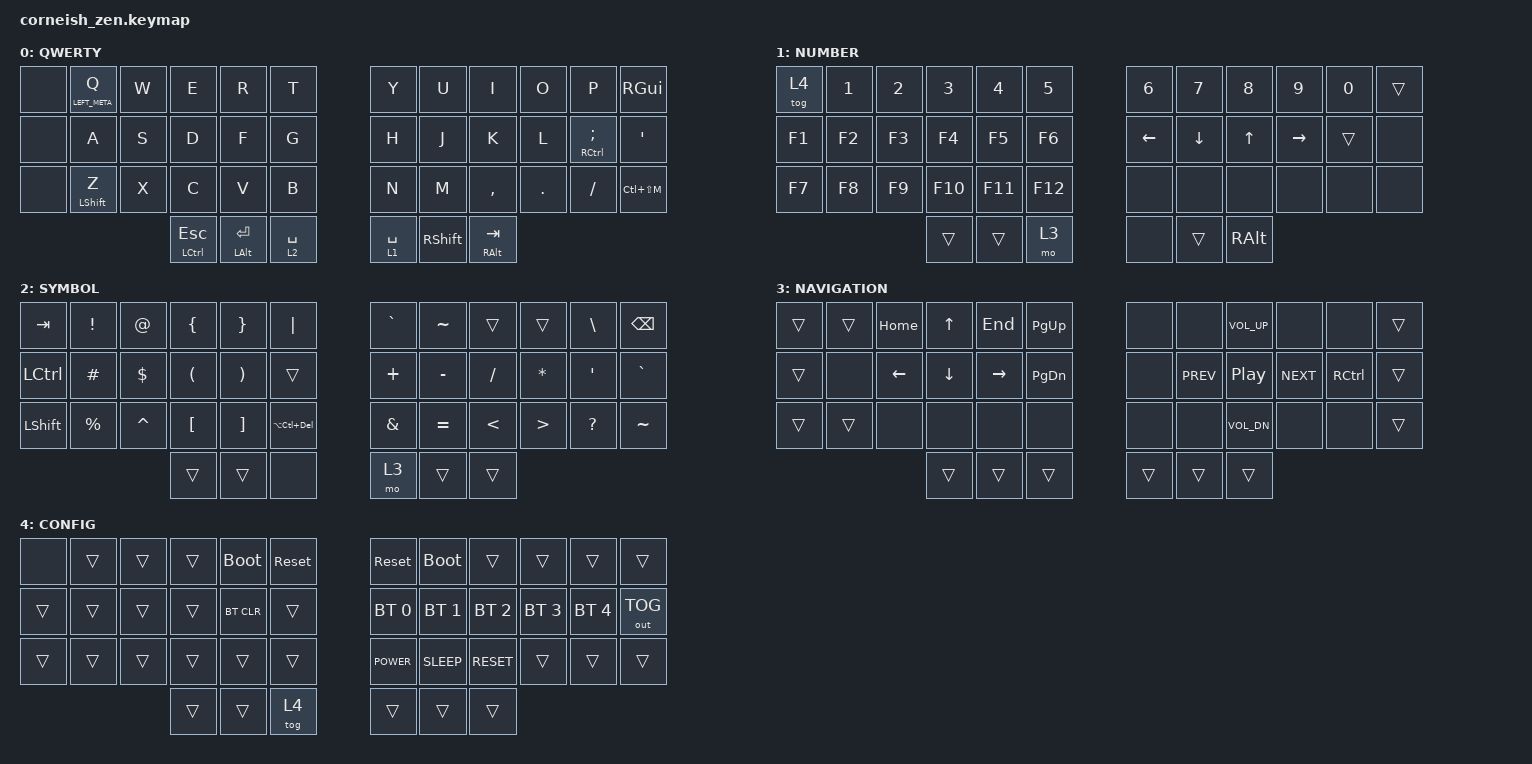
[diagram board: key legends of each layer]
#include <behaviors.dtsi>
#include <dt-bindings/zmk/bt.h>
#include <dt-bindings/zmk/keys.h>
#include <dt-bindings/zmk/outputs.h>

/ {
    chosen {
        zmk,matrix_transform = &default_transform;

        //zmk,matrix_transform = &five_column_transform;
    };
};

/ {
    combos {
        compatible = "zmk,combos";

        sd_bkspc {
            bindings = <&kp BSPC>;
            key-positions = <15 14>;
        };

        kl_delete {
            bindings = <&kp DELETE>;
            key-positions = <20 21>;
        };
    };

    keymap {
        compatible = "zmk,keymap";

        QWERTY {
            label = "QWERTY";

            // -----------------------------------------------------------------------------------------
            // |  TAB |  Q  |  W  |  E  |  R  |  T  |   |  Y  |  U   |  I  |  O  |  P  | BKSP |
            // | CTRL |  A  |  S  |  D  |  F  |  G  |   |  H  |  J   |  K  |  L  |  ;  |  '   |
            // | SHFT |LSFT/Z|  X  |  C  |  V  |  B  |   |  N  |  M   |  ,  |  .  |  /  | ESC  |
            //                    | GUI | LWR | SPC |   | ENT | RSE  | ALT |

            bindings = <
&none  &mt LEFT_META Q  &kp W  &kp E                 &kp R               &kp T          &kp Y        &kp U      &kp I         &kp O    &kp P           &kp RIGHT_GUI
&none  &kp A            &kp S  &kp D                 &kp F               &kp G          &kp H        &kp J      &kp K         &kp L    &mt RCTRL SEMI  &kp SQT
&none  &mt LSHIFT Z     &kp X  &kp C                 &kp V               &kp B          &kp N        &kp M      &kp COMMA     &kp DOT  &kp FSLH        &kp LC(LS(M))
                               &mt LEFT_CONTROL ESC  &mt LEFT_ALT ENTER  &lt 2 SPACE    &lt 1 SPACE  &kp RSHFT  &mt RALT TAB
            >;
        };

        NUMBER {
            label = "NUMBER";

            // -----------------------------------------------------------------------------------------
            // |  TAB |  1  |  2  |  3  |  4  |  5  |   |  6  |  7  |  8  |  9  |  0  | BKSP |
            // | BTCLR| BT1 | BT2 | BT3 | BT4 | BT5 |   | LFT | DWN |  UP | RGT |     |      |
            // | SHFT |     |     |     |     |     |   |     |     |     |     |     |      |
            //                    | GUI |     | SPC |   | ENT |     | ALT |

            bindings = <
&tog 4  &kp N1  &kp N2  &kp N3   &kp N4   &kp N5     &kp N6    &kp N7    &kp N8    &kp N9     &kp N0  &trans
&kp F1  &kp F2  &kp F3  &kp F4   &kp F5   &kp F6     &kp LEFT  &kp DOWN  &kp UP    &kp RIGHT  &trans  &none
&kp F7  &kp F8  &kp F9  &kp F10  &kp F11  &kp F12    &none     &none     &none     &none      &none   &none
                        &trans   &trans   &mo 3      &none     &trans    &kp RALT
            >;
        };

        SYMBOL {
            label = "SYMBOL";

            // -----------------------------------------------------------------------------------------
            // |  TAB |  Q  |  W  |  E  |  R  |  T  |   |  Y  |  U   |  I  |  O  |  P  | BKSP |
            // | CTRL |  A  |  S  |  D  |  F  |  G  |   |  H  |  J   |  K  |  L  |  ;  |  '   |
            // | SHFT |  Z  |  X  |  C  |  V  |  B  |   |  N  |  M   |  ,  |  .  |  /  | ESC  |
            //                    | GUI | LWR | SPC |   | ENT | RSE  | ALT |
            // -----------------------------------------------------------------------------------------
            // |  TAB |  !  |  @  |  {  |  }  | "|" |   |  `  |  ~  |     |     |  \  | BKSP |
            // | CTRL |  #  |  $  |  (  |  )  |     |   |  +  |  -  |  [  |  ]  |  \  |  `   |
            // | SHFT |  %  |  ^  |  [  |  ]  |     |   |  &  |  =  |  <  |  >  |  ?  |  ~   |
            //                    | GUI |     | SPC |   | ENT |     | ALT |

            bindings = <
&kp TAB    &kp EXCL   &kp AT     &kp LBRC  &kp RBRC  &kp PIPE           &kp GRAVE  &kp TILDE  &trans    &trans     &kp BACKSLASH     &kp BSPC
&kp LCTRL  &kp HASH   &kp DLLR   &kp LPAR  &kp RPAR  &trans             &kp PLUS   &kp MINUS  &kp FSLH  &kp ASTRK  &kp SINGLE_QUOTE  &kp GRAVE
&kp LSHFT  &kp PRCNT  &kp CARET  &kp LBKT  &kp RBKT  &kp LA(LC(DEL))    &kp AMPS   &kp EQUAL  &kp LT    &kp GT     &kp QUESTION      &kp TILDE
                                 &trans    &trans    &none              &mo 3      &trans     &trans
            >;
        };

        NAVIGATION {
            label = "NAVIGATION";
            bindings = <
&trans  &trans  &kp HOME  &kp UP    &kp END    &kp PAGE_UP      &none   &none       &kp C_VOL_UP      &none       &none      &trans
&trans  &none   &kp LEFT  &kp DOWN  &kp RIGHT  &kp PAGE_DOWN    &none   &kp C_PREV  &kp C_PLAY_PAUSE  &kp C_NEXT  &kp RCTRL  &trans
&trans  &trans  &none     &none     &none      &none            &none   &none       &kp C_VOL_DN      &none       &none      &trans
                          &trans    &trans     &trans           &trans  &trans      &trans
            >;
        };

        CONFIG {
            bindings = <
&none   &trans  &trans  &trans  &bootloader  &sys_reset    &sys_reset    &bootloader   &trans        &trans        &trans        &trans
&trans  &trans  &trans  &trans  &bt BT_CLR   &trans        &bt BT_SEL 0  &bt BT_SEL 1  &bt BT_SEL 2  &bt BT_SEL 3  &bt BT_SEL 4  &out OUT_TOG
&trans  &trans  &trans  &trans  &trans       &trans        &kp C_POWER   &kp C_SLEEP   &kp C_RESET   &trans        &trans        &trans
                        &trans  &trans       &tog 4        &trans        &trans        &trans
            >;

            label = "CONFIG";
        };
    };
};
